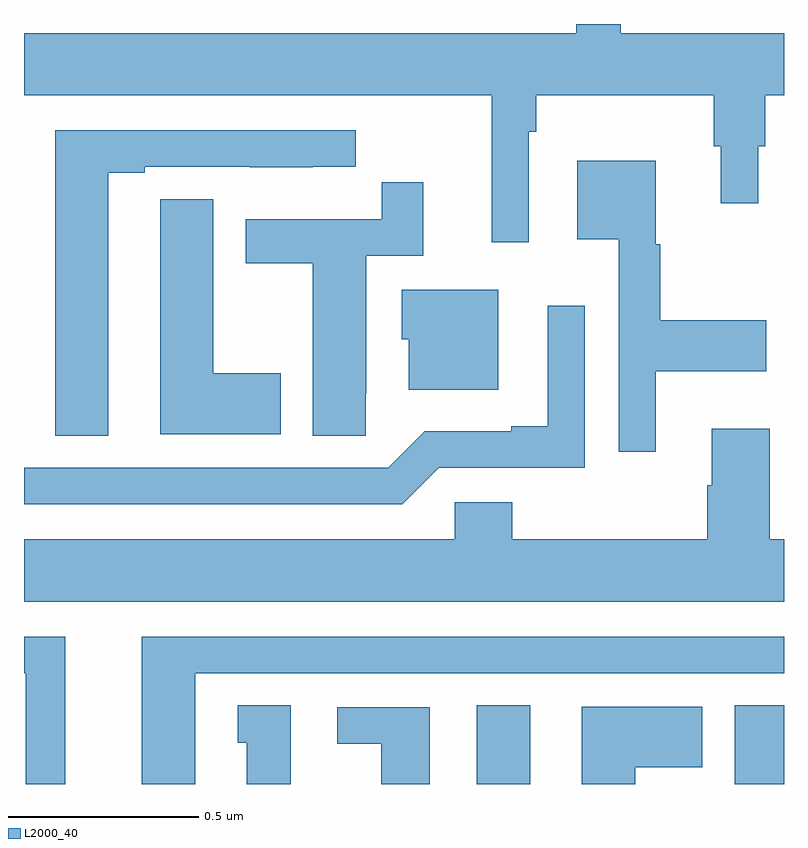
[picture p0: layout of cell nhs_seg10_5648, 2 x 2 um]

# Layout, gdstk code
import gdstk
lib = gdstk.Library(unit=1e-6, precision=1e-09)
def R(c, l, rs):  # rectangles x0, y0, x1, y1
    for r in rs: c.add(gdstk.rectangle(r[:2], r[2:], *l))
def P(c, l, *ps):  # polygons
    for p in ps: c.add(gdstk.Polygon(p, *l))
L2000_40 = (2000, 40)

nhs_seg10_5648 = lib.new_cell('nhs_seg10_5648')
R(nhs_seg10_5648, L2000_40, [(182.192,1302.5,182.332,1302.707), (182.87,1302.5,183,1302.707)])
P(nhs_seg10_5648, L2000_40, [(182.328,1304.216),(182.348,1304.216),(182.348,1304.312),(182.815,1304.312),(182.815,1304.178),(182.834,1304.178),(182.834,1304.028),(182.932,1304.028),(182.932,1304.178),(182.951,1304.178),(182.951,1304.312),(183,1304.312),(183,1304.476),(182.57,1304.476),(182.57,1304.5),(182.453,1304.5),(182.453,1304.476),(181,1304.476),(181,1304.312),(182.231,1304.312),(182.231,1303.926),(182.328,1303.926)],
  [(181.222,1304.109),(181.318,1304.109),(181.318,1304.124),(181.594,1304.124),(181.594,1304.123),(181.76,1304.123),(181.76,1304.124),(181.873,1304.124),(181.873,1304.22),(181.082,1304.22),(181.082,1303.417),(181.222,1303.417)],
  [(182.662,1303.586),(182.953,1303.586),(182.953,1303.721),(182.674,1303.721),(182.674,1303.92),(182.662,1303.92),(182.662,1304.14),(182.456,1304.14),(182.456,1303.934),(182.565,1303.934),(182.565,1303.374),(182.662,1303.374)],
  [(181.899,1303.528),(181.9,1303.528),(181.9,1303.89),(182.051,1303.89),(182.051,1304.083),(181.942,1304.083),(181.942,1303.986),(181.583,1303.986),(181.583,1303.87),(181.76,1303.87),(181.76,1303.417),(181.899,1303.417)],
  [(181.675,1303.581),(181.498,1303.581),(181.498,1304.039),(181.359,1304.039),(181.359,1303.931),(181.358,1303.931),(181.358,1303.421),(181.675,1303.421)],
  [(182.248,1303.801),(181.994,1303.801),(181.994,1303.671),(182.012,1303.671),(182.012,1303.538),(182.248,1303.538)],
  [(182.091,1303.332),(182.475,1303.332),(182.475,1303.759),(182.378,1303.759),(182.378,1303.441),(182.282,1303.441),(182.282,1303.428),(182.055,1303.428),(181.959,1303.332),(181,1303.332),(181,1303.236),(181.995,1303.236)],
  [(183,1303.144),(182.963,1303.144),(182.963,1303.435),(182.81,1303.435),(182.81,1303.286),(182.798,1303.286),(182.798,1303.144),(182.285,1303.144),(182.285,1303.242),(182.133,1303.242),(182.133,1303.144),(181,1303.144),(181,1302.98),(183,1302.98)],
  [(181.45,1302.792),(183,1302.792),(183,1302.888),(181.31,1302.888),(181.31,1302.5),(181.45,1302.5)],
  [(181.108,1302.888),(181,1302.888),(181,1302.792),(181.004,1302.792),(181.004,1302.5),(181.108,1302.5)],
  [(181.702,1302.707),(181.562,1302.707),(181.562,1302.609),(181.586,1302.609),(181.586,1302.5),(181.702,1302.5)],
  [(182.608,1302.544),(182.785,1302.544),(182.785,1302.703),(182.468,1302.703),(182.468,1302.5),(182.608,1302.5)],
  [(182.068,1302.702),(181.824,1302.702),(181.824,1302.606),(181.94,1302.606),(181.94,1302.5),(182.068,1302.5)])

lib.write_gds('nhs_seg10_5648.gds')
